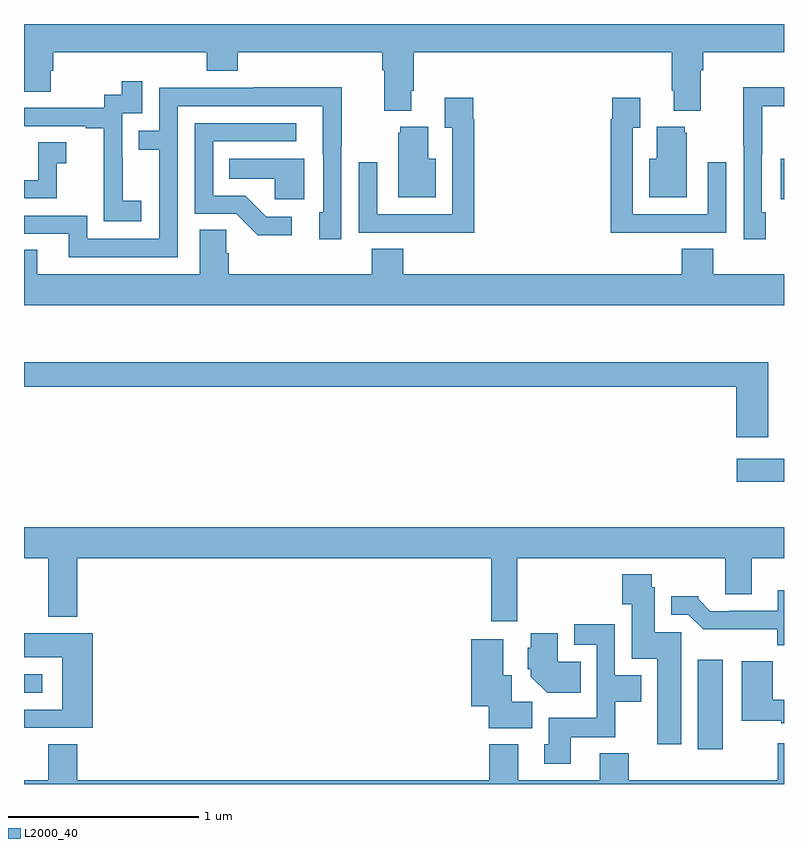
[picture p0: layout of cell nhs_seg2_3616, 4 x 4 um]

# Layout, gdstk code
import gdstk
lib = gdstk.Library(unit=1e-6, precision=1e-09)
def R(c, l, rs):  # rectangles x0, y0, x1, y1
    for r in rs: c.add(gdstk.rectangle(r[:2], r[2:], *l))
def P(c, l, *ps):  # polygons
    for p in ps: c.add(gdstk.Polygon(p, *l))
L2000_40 = (2000, 40)

nhs_seg2_3616 = lib.new_cell('nhs_seg2_3616')
R(nhs_seg2_3616, L2000_40, [(304.547,627.984,304.678,628.453), (301,628.281,301.096,628.377), (304.752,629.39,305,629.512), (304.982,630.878,305,631.09)])
P(nhs_seg2_3616, L2000_40, [(303.037,631.45),(303.05,631.45),(303.05,631.652),(304.409,631.652),(304.409,631.45),(304.421,631.45),(304.421,631.343),(304.561,631.343),(304.561,631.556),(304.574,631.556),(304.574,631.652),(305,631.652),(305,631.8),(301,631.8),(301,631.444),(301.141,631.444),(301.141,631.554),(301.154,631.554),(301.154,631.652),(301.961,631.652),(301.961,631.553),(302.126,631.553),(302.126,631.652),(302.885,631.652),(302.885,631.556),(302.897,631.556),(302.897,631.343),(303.037,631.343)],
  [(301.618,630.871),(301.52,630.871),(301.52,631.1),(301.518,631.1),(301.518,631.329),(301.623,631.329),(301.623,631.498),(301.515,631.498),(301.515,631.428),(301.422,631.428),(301.422,631.359),(301,631.359),(301,631.263),(301.325,631.263),(301.325,631.251),(301.421,631.251),(301.421,630.967),(301.42,630.967),(301.42,630.761),(301.618,630.761)],
  [(301.809,631.368),(302.573,631.368),(302.573,631.114),(302.574,631.114),(302.574,630.81),(302.555,630.81),(302.555,630.666),(302.67,630.666),(302.67,631.159),(302.673,631.159),(302.673,631.466),(302.209,631.466),(302.209,631.464),(301.713,631.464),(301.713,631.239),(301.603,631.239),(301.603,631.138),(301.713,631.138),(301.713,630.669),(301.332,630.669),(301.332,630.792),(301,630.792),(301,630.696),(301.235,630.696),(301.235,630.573),(301.809,630.573)],
  [(304.903,630.81),(304.884,630.81),(304.884,631.114),(304.885,631.114),(304.885,631.368),(305,631.368),(305,631.466),(304.786,631.466),(304.786,631.159),(304.788,631.159),(304.788,630.666),(304.903,630.666)],
  [(303.371,631.298),(303.364,631.298),(303.364,631.411),(303.215,631.411),(303.215,631.255),(303.255,631.255),(303.255,630.798),(302.859,630.798),(302.859,631.072),(302.763,631.072),(302.763,630.702),(303.079,630.702),(303.079,630.701),(303.371,630.701)],
  [(304.379,630.702),(304.695,630.702),(304.695,631.072),(304.599,631.072),(304.599,630.798),(304.203,630.798),(304.203,631.255),(304.243,631.255),(304.243,631.411),(304.095,631.411),(304.095,631.298),(304.087,631.298),(304.087,630.701),(304.379,630.701)],
  [(302.41,630.786),(302.275,630.786),(302.164,630.897),(301.995,630.897),(301.995,631.182),(302.434,631.182),(302.434,631.278),(301.899,631.278),(301.899,630.801),(302.118,630.801),(302.231,630.689),(302.41,630.689)],
  [(304.489,631.227),(304.478,631.227),(304.478,631.258),(304.331,631.258),(304.331,631.09),(304.292,631.09),(304.292,630.887),(304.489,630.887)],
  [(303.166,631.09),(303.127,631.09),(303.127,631.258),(302.981,631.258),(302.981,631.227),(302.969,631.227),(302.969,630.887),(303.166,630.887)],
  [(301.173,631.067),(301.222,631.067),(301.222,631.177),(301.074,631.177),(301.074,630.978),(301,630.978),(301,630.882),(301.173,630.882)],
  [(302.476,631.09),(302.08,631.09),(302.08,630.986),(302.319,630.986),(302.319,630.878),(302.476,630.878)],
  [(301,630.611),(301,630.32),(305,630.32),(305,630.484),(304.628,630.484),(304.628,630.617),(304.463,630.617),(304.463,630.484),(302.996,630.484),(302.996,630.617),(302.831,630.617),(302.831,630.484),(302.078,630.484),(302.078,630.593),(302.064,630.593),(302.064,630.716),(301.925,630.716),(301.925,630.484),(301.069,630.484),(301.069,630.611)],
  [(304.918,630.019),(301,630.019),(301,629.89),(304.748,629.89),(304.748,629.625),(304.918,629.625)],
  [(303.596,628.988),(304.691,628.988),(304.691,628.798),(304.831,628.798),(304.831,628.988),(305,628.988),(305,629.152),(301,629.152),(301,628.988),(301.127,628.988),(301.127,628.679),(301.28,628.679),(301.28,628.988),(303.46,628.988),(303.46,628.656),(303.596,628.656)],
  [(304.459,628.599),(304.321,628.599),(304.321,628.836),(304.305,628.836),(304.305,628.903),(304.148,628.903),(304.148,628.747),(304.199,628.747),(304.199,628.46),(304.334,628.46),(304.334,628.008),(304.459,628.008)],
  [(305,628.819),(304.967,628.819),(304.967,628.713),(304.711,628.713),(304.711,628.71),(304.612,628.71),(304.548,628.774),(304.548,628.789),(304.406,628.789),(304.406,628.692),(304.497,628.692),(304.576,628.614),(304.965,628.614),(304.965,628.529),(305,628.529)],
  [(303.877,628.046),(304.113,628.046),(304.113,628.232),(304.249,628.232),(304.249,628.372),(304.11,628.372),(304.11,628.642),(303.897,628.642),(303.897,628.533),(304.014,628.533),(304.014,628.15),(303.761,628.15),(303.761,628.008),(303.737,628.008),(303.737,627.906),(303.877,627.906)],
  [(301.361,628.594),(301,628.594),(301,628.466),(301.202,628.466),(301.202,628.191),(301,628.191),(301,628.095),(301.361,628.095)],
  [(303.929,628.444),(303.808,628.444),(303.808,628.594),(303.668,628.594),(303.668,628.518),(303.65,628.518),(303.65,628.404),(303.668,628.404),(303.668,628.365),(303.753,628.28),(303.929,628.28)],
  [(303.676,628.232),(303.568,628.232),(303.568,628.372),(303.523,628.372),(303.523,628.561),(303.353,628.561),(303.353,628.208),(303.446,628.208),(303.446,628.094),(303.676,628.094)],
  [(305,628.243),(304.94,628.243),(304.94,628.447),(304.778,628.447),(304.778,628.133),(304.986,628.133),(304.986,628.121),(305,628.121)],
  [(305,628.015),(304.967,628.015),(304.967,627.82),(304.184,627.82),(304.184,627.961),(304.031,627.961),(304.031,627.82),(303.601,627.82),(303.601,628.009),(303.449,628.009),(303.449,627.82),(301.28,627.82),(301.28,628.01),(301.127,628.01),(301.127,627.82),(301,627.82),(301,627.8),(305,627.8)])

lib.write_gds('nhs_seg2_3616.gds')
